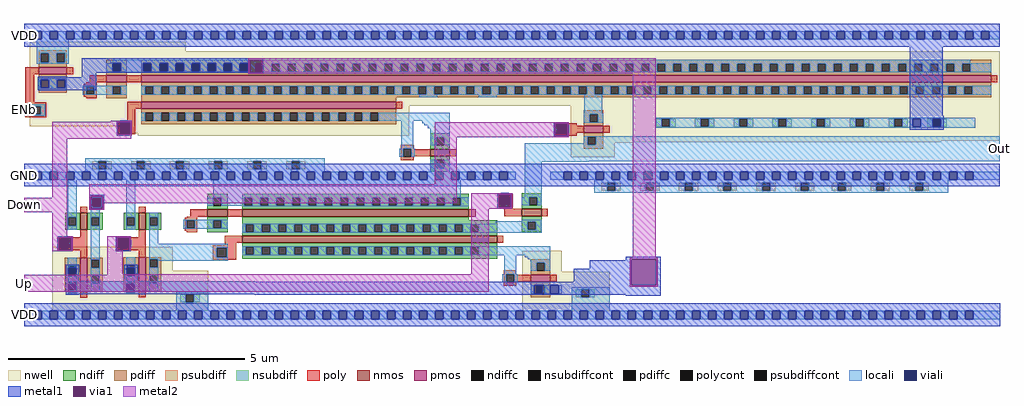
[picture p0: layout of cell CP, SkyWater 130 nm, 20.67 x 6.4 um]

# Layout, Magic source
magic
tech sky130A
<< nwell >>
rect 12 582 343 602
rect 12 467 2066 582
rect 12 423 816 467
rect 230 408 816 423
rect 241 403 816 408
rect 1158 393 2066 467
rect 1158 389 1942 393
rect 1158 388 1288 389
rect 1158 358 1251 388
rect 60 117 315 168
rect 60 32 390 117
rect 1055 115 1139 160
rect 1055 31 1241 115
<< nmos >>
rect 860 360 902 375
rect 119 204 134 240
rect 243 204 258 240
rect 388 232 432 247
rect 462 232 942 247
rect 1054 233 1096 248
rect 462 176 1002 191
<< pmos >>
rect 31 533 91 548
rect 174 516 218 531
rect 248 516 2048 531
rect 248 460 788 475
rect 1185 409 1227 424
rect 119 73 134 145
rect 243 74 258 146
rect 1073 94 1115 109
<< ndiff >>
rect 860 400 902 408
rect 860 383 873 400
rect 890 383 902 400
rect 860 375 902 383
rect 860 352 902 360
rect 860 335 873 352
rect 890 335 902 352
rect 860 327 902 335
rect 388 272 432 280
rect 388 255 401 272
rect 418 255 432 272
rect 388 247 432 255
rect 462 272 942 280
rect 462 255 466 272
rect 483 255 500 272
rect 517 255 534 272
rect 551 255 568 272
rect 585 255 602 272
rect 619 255 636 272
rect 653 255 670 272
rect 687 255 704 272
rect 721 255 738 272
rect 755 255 772 272
rect 789 255 806 272
rect 823 255 840 272
rect 857 255 874 272
rect 891 255 908 272
rect 925 255 942 272
rect 462 247 942 255
rect 1054 273 1096 281
rect 1054 256 1070 273
rect 1087 256 1096 273
rect 1054 248 1096 256
rect 87 230 119 240
rect 87 213 94 230
rect 111 213 119 230
rect 87 204 119 213
rect 134 230 167 240
rect 134 213 142 230
rect 159 213 167 230
rect 134 204 167 213
rect 211 230 243 240
rect 211 213 218 230
rect 235 213 243 230
rect 211 204 243 213
rect 258 230 291 240
rect 258 213 266 230
rect 283 213 291 230
rect 258 204 291 213
rect 388 224 432 232
rect 388 207 401 224
rect 418 207 432 224
rect 388 199 432 207
rect 462 224 942 232
rect 462 216 1002 224
rect 462 199 470 216
rect 487 199 504 216
rect 521 199 538 216
rect 555 199 572 216
rect 589 199 606 216
rect 623 199 640 216
rect 657 199 674 216
rect 691 199 708 216
rect 725 199 742 216
rect 759 199 776 216
rect 793 199 810 216
rect 827 199 844 216
rect 861 199 878 216
rect 895 199 912 216
rect 929 199 946 216
rect 963 199 1002 216
rect 1054 221 1096 233
rect 1054 204 1067 221
rect 1084 204 1096 221
rect 1054 200 1096 204
rect 462 191 1002 199
rect 462 168 1002 176
rect 462 151 470 168
rect 487 151 504 168
rect 521 151 538 168
rect 555 151 572 168
rect 589 151 606 168
rect 623 151 640 168
rect 657 151 674 168
rect 691 151 708 168
rect 725 151 742 168
rect 759 151 776 168
rect 793 151 810 168
rect 827 151 844 168
rect 861 151 878 168
rect 895 151 912 168
rect 929 151 946 168
rect 963 151 1002 168
rect 462 143 1002 151
<< pdiff >>
rect 31 578 91 584
rect 31 559 35 578
rect 52 559 69 578
rect 86 559 91 578
rect 31 548 91 559
rect 174 556 218 564
rect 174 539 188 556
rect 205 539 218 556
rect 31 494 91 533
rect 174 531 218 539
rect 248 556 2048 564
rect 248 539 253 556
rect 270 539 287 556
rect 304 539 321 556
rect 338 539 355 556
rect 372 539 389 556
rect 406 539 423 556
rect 440 539 457 556
rect 474 539 491 556
rect 508 539 525 556
rect 542 539 559 556
rect 576 539 593 556
rect 610 539 627 556
rect 644 539 661 556
rect 678 539 695 556
rect 712 539 729 556
rect 746 539 763 556
rect 780 539 797 556
rect 814 539 831 556
rect 848 539 865 556
rect 882 539 899 556
rect 916 539 933 556
rect 950 539 967 556
rect 984 539 1001 556
rect 1018 539 1035 556
rect 1052 539 1069 556
rect 1086 539 1103 556
rect 1120 539 1137 556
rect 1154 539 1171 556
rect 1188 539 1205 556
rect 1222 539 1239 556
rect 1256 539 1273 556
rect 1290 539 1307 556
rect 1324 539 1341 556
rect 1358 539 1375 556
rect 1392 539 1409 556
rect 1426 539 1443 556
rect 1460 539 1477 556
rect 1494 539 1511 556
rect 1528 539 1545 556
rect 1562 539 1579 556
rect 1596 539 1613 556
rect 1630 539 1647 556
rect 1664 539 1681 556
rect 1698 539 1715 556
rect 1732 539 1749 556
rect 1766 539 1783 556
rect 1800 539 1817 556
rect 1834 539 1851 556
rect 1868 539 1885 556
rect 1902 539 1919 556
rect 1936 539 1953 556
rect 1970 539 1987 556
rect 2004 539 2048 556
rect 248 531 2048 539
rect 174 508 218 516
rect 174 491 188 508
rect 205 491 218 508
rect 174 483 218 491
rect 248 508 2048 516
rect 248 491 257 508
rect 274 491 291 508
rect 308 491 325 508
rect 342 491 359 508
rect 376 491 393 508
rect 410 491 427 508
rect 444 491 461 508
rect 478 491 495 508
rect 512 491 529 508
rect 546 491 563 508
rect 580 491 597 508
rect 614 491 631 508
rect 648 491 665 508
rect 682 491 699 508
rect 716 491 733 508
rect 750 491 767 508
rect 784 491 801 508
rect 818 491 835 508
rect 852 491 869 508
rect 886 491 903 508
rect 920 491 937 508
rect 954 491 971 508
rect 988 491 1005 508
rect 1022 491 1039 508
rect 1056 491 1073 508
rect 1090 491 1107 508
rect 1124 491 1141 508
rect 1158 491 1175 508
rect 1192 491 1209 508
rect 1226 491 1243 508
rect 1260 491 1277 508
rect 1294 491 1311 508
rect 1328 491 1345 508
rect 1362 491 1379 508
rect 1396 491 1413 508
rect 1430 491 1447 508
rect 1464 491 1481 508
rect 1498 491 1515 508
rect 1532 491 1549 508
rect 1566 491 1583 508
rect 1600 491 1617 508
rect 1634 491 1651 508
rect 1668 491 1685 508
rect 1702 491 1719 508
rect 1736 491 1753 508
rect 1770 491 1787 508
rect 1804 491 1821 508
rect 1838 491 1855 508
rect 1872 491 1889 508
rect 1906 491 1923 508
rect 1940 491 1957 508
rect 1974 491 1991 508
rect 2008 491 2048 508
rect 248 485 2048 491
rect 248 475 788 485
rect 248 452 788 460
rect 248 435 257 452
rect 274 435 291 452
rect 308 435 325 452
rect 342 435 359 452
rect 376 435 393 452
rect 410 435 427 452
rect 444 435 461 452
rect 478 435 495 452
rect 512 435 529 452
rect 546 435 563 452
rect 580 435 597 452
rect 614 435 631 452
rect 648 435 665 452
rect 682 435 699 452
rect 716 435 733 452
rect 750 435 788 452
rect 248 427 788 435
rect 1185 449 1227 457
rect 1185 432 1198 449
rect 1215 432 1227 449
rect 1185 424 1227 432
rect 1185 401 1227 409
rect 1185 384 1194 401
rect 1211 384 1227 401
rect 1185 376 1227 384
rect 86 128 119 145
rect 86 111 94 128
rect 111 111 119 128
rect 86 94 119 111
rect 86 77 94 94
rect 111 77 119 94
rect 86 73 119 77
rect 134 141 167 145
rect 134 124 142 141
rect 159 124 167 141
rect 134 107 167 124
rect 134 90 142 107
rect 159 90 167 107
rect 134 73 167 90
rect 210 129 243 146
rect 210 112 218 129
rect 235 112 243 129
rect 210 95 243 112
rect 210 78 218 95
rect 235 78 243 95
rect 210 74 243 78
rect 258 142 291 146
rect 258 125 266 142
rect 283 125 291 142
rect 258 108 291 125
rect 1073 134 1115 142
rect 258 91 266 108
rect 283 91 291 108
rect 258 74 291 91
rect 1073 117 1086 134
rect 1103 117 1115 134
rect 1073 109 1115 117
rect 1073 86 1115 94
rect 1073 69 1086 86
rect 1103 69 1115 86
rect 1073 61 1115 69
<< ndiffc >>
rect 873 383 890 400
rect 873 335 890 352
rect 401 255 418 272
rect 466 255 483 272
rect 500 255 517 272
rect 534 255 551 272
rect 568 255 585 272
rect 602 255 619 272
rect 636 255 653 272
rect 670 255 687 272
rect 704 255 721 272
rect 738 255 755 272
rect 772 255 789 272
rect 806 255 823 272
rect 840 255 857 272
rect 874 255 891 272
rect 908 255 925 272
rect 1070 256 1087 273
rect 94 213 111 230
rect 142 213 159 230
rect 218 213 235 230
rect 266 213 283 230
rect 401 207 418 224
rect 470 199 487 216
rect 504 199 521 216
rect 538 199 555 216
rect 572 199 589 216
rect 606 199 623 216
rect 640 199 657 216
rect 674 199 691 216
rect 708 199 725 216
rect 742 199 759 216
rect 776 199 793 216
rect 810 199 827 216
rect 844 199 861 216
rect 878 199 895 216
rect 912 199 929 216
rect 946 199 963 216
rect 1067 204 1084 221
rect 470 151 487 168
rect 504 151 521 168
rect 538 151 555 168
rect 572 151 589 168
rect 606 151 623 168
rect 640 151 657 168
rect 674 151 691 168
rect 708 151 725 168
rect 742 151 759 168
rect 776 151 793 168
rect 810 151 827 168
rect 844 151 861 168
rect 878 151 895 168
rect 912 151 929 168
rect 946 151 963 168
<< pdiffc >>
rect 35 559 52 578
rect 69 559 86 578
rect 188 539 205 556
rect 253 539 270 556
rect 287 539 304 556
rect 321 539 338 556
rect 355 539 372 556
rect 389 539 406 556
rect 423 539 440 556
rect 457 539 474 556
rect 491 539 508 556
rect 525 539 542 556
rect 559 539 576 556
rect 593 539 610 556
rect 627 539 644 556
rect 661 539 678 556
rect 695 539 712 556
rect 729 539 746 556
rect 763 539 780 556
rect 797 539 814 556
rect 831 539 848 556
rect 865 539 882 556
rect 899 539 916 556
rect 933 539 950 556
rect 967 539 984 556
rect 1001 539 1018 556
rect 1035 539 1052 556
rect 1069 539 1086 556
rect 1103 539 1120 556
rect 1137 539 1154 556
rect 1171 539 1188 556
rect 1205 539 1222 556
rect 1239 539 1256 556
rect 1273 539 1290 556
rect 1307 539 1324 556
rect 1341 539 1358 556
rect 1375 539 1392 556
rect 1409 539 1426 556
rect 1443 539 1460 556
rect 1477 539 1494 556
rect 1511 539 1528 556
rect 1545 539 1562 556
rect 1579 539 1596 556
rect 1613 539 1630 556
rect 1647 539 1664 556
rect 1681 539 1698 556
rect 1715 539 1732 556
rect 1749 539 1766 556
rect 1783 539 1800 556
rect 1817 539 1834 556
rect 1851 539 1868 556
rect 1885 539 1902 556
rect 1919 539 1936 556
rect 1953 539 1970 556
rect 1987 539 2004 556
rect 188 491 205 508
rect 257 491 274 508
rect 291 491 308 508
rect 325 491 342 508
rect 359 491 376 508
rect 393 491 410 508
rect 427 491 444 508
rect 461 491 478 508
rect 495 491 512 508
rect 529 491 546 508
rect 563 491 580 508
rect 597 491 614 508
rect 631 491 648 508
rect 665 491 682 508
rect 699 491 716 508
rect 733 491 750 508
rect 767 491 784 508
rect 801 491 818 508
rect 835 491 852 508
rect 869 491 886 508
rect 903 491 920 508
rect 937 491 954 508
rect 971 491 988 508
rect 1005 491 1022 508
rect 1039 491 1056 508
rect 1073 491 1090 508
rect 1107 491 1124 508
rect 1141 491 1158 508
rect 1175 491 1192 508
rect 1209 491 1226 508
rect 1243 491 1260 508
rect 1277 491 1294 508
rect 1311 491 1328 508
rect 1345 491 1362 508
rect 1379 491 1396 508
rect 1413 491 1430 508
rect 1447 491 1464 508
rect 1481 491 1498 508
rect 1515 491 1532 508
rect 1549 491 1566 508
rect 1583 491 1600 508
rect 1617 491 1634 508
rect 1651 491 1668 508
rect 1685 491 1702 508
rect 1719 491 1736 508
rect 1753 491 1770 508
rect 1787 491 1804 508
rect 1821 491 1838 508
rect 1855 491 1872 508
rect 1889 491 1906 508
rect 1923 491 1940 508
rect 1957 491 1974 508
rect 1991 491 2008 508
rect 257 435 274 452
rect 291 435 308 452
rect 325 435 342 452
rect 359 435 376 452
rect 393 435 410 452
rect 427 435 444 452
rect 461 435 478 452
rect 495 435 512 452
rect 529 435 546 452
rect 563 435 580 452
rect 597 435 614 452
rect 631 435 648 452
rect 665 435 682 452
rect 699 435 716 452
rect 733 435 750 452
rect 1198 432 1215 449
rect 1194 384 1211 401
rect 94 111 111 128
rect 94 77 111 94
rect 142 124 159 141
rect 142 90 159 107
rect 218 112 235 129
rect 218 78 235 95
rect 266 125 283 142
rect 266 91 283 108
rect 1086 117 1103 134
rect 1086 69 1103 86
<< psubdiff >>
rect 145 332 157 349
rect 174 332 186 349
rect 227 332 239 349
rect 256 332 268 349
rect 309 332 321 349
rect 338 332 350 349
rect 391 332 403 349
rect 420 332 432 349
rect 473 332 485 349
rect 502 332 514 349
rect 555 332 567 349
rect 584 332 596 349
rect 1223 287 1235 304
rect 1252 287 1264 304
rect 1305 287 1317 304
rect 1334 287 1346 304
rect 1387 287 1399 304
rect 1416 287 1428 304
rect 1469 287 1481 304
rect 1498 287 1510 304
rect 1551 287 1563 304
rect 1580 287 1592 304
rect 1633 287 1645 304
rect 1662 287 1674 304
rect 1711 287 1723 304
rect 1740 287 1752 304
rect 1793 287 1805 304
rect 1822 287 1834 304
rect 1875 287 1887 304
rect 1904 287 1916 304
<< nsubdiff >>
rect 1339 422 1351 439
rect 1368 422 1380 439
rect 1421 422 1433 439
rect 1450 422 1462 439
rect 1503 422 1515 439
rect 1532 422 1544 439
rect 1585 422 1597 439
rect 1614 422 1626 439
rect 1667 422 1679 439
rect 1696 422 1708 439
rect 1749 422 1761 439
rect 1778 422 1790 439
rect 1831 422 1843 439
rect 1860 422 1872 439
rect 1913 422 1925 439
rect 1942 422 1954 439
rect 331 50 343 67
rect 360 50 372 67
rect 1168 61 1180 78
rect 1197 61 1209 78
<< psubdiffcont >>
rect 157 332 174 349
rect 239 332 256 349
rect 321 332 338 349
rect 403 332 420 349
rect 485 332 502 349
rect 567 332 584 349
rect 1235 287 1252 304
rect 1317 287 1334 304
rect 1399 287 1416 304
rect 1481 287 1498 304
rect 1563 287 1580 304
rect 1645 287 1662 304
rect 1723 287 1740 304
rect 1805 287 1822 304
rect 1887 287 1904 304
<< nsubdiffcont >>
rect 1351 422 1368 439
rect 1433 422 1450 439
rect 1515 422 1532 439
rect 1597 422 1614 439
rect 1679 422 1696 439
rect 1761 422 1778 439
rect 1843 422 1860 439
rect 1925 422 1942 439
rect 343 50 360 67
rect 1180 61 1197 78
<< poly >>
rect 3 533 31 548
rect 91 533 104 548
rect 3 474 22 533
rect 139 516 174 531
rect 218 516 248 531
rect 2048 516 2061 531
rect 132 513 154 516
rect 127 508 154 513
rect 127 491 132 508
rect 149 491 154 508
rect 127 486 154 491
rect 132 483 154 486
rect 3 466 47 474
rect 3 449 18 466
rect 35 449 47 466
rect 3 442 47 449
rect 219 460 248 475
rect 788 460 801 475
rect 219 433 236 460
rect 196 428 236 433
rect 196 411 204 428
rect 221 411 236 428
rect 196 406 236 411
rect 1122 425 1171 430
rect 1122 408 1130 425
rect 1147 424 1171 425
rect 1147 409 1185 424
rect 1227 409 1240 424
rect 1147 408 1171 409
rect 1122 403 1171 408
rect 798 376 825 384
rect 798 359 803 376
rect 820 375 825 376
rect 820 360 860 375
rect 902 360 915 375
rect 820 359 825 360
rect 798 351 825 359
rect 119 240 134 253
rect 243 240 258 253
rect 1002 274 1035 280
rect 1002 257 1010 274
rect 1027 257 1035 274
rect 1002 252 1035 257
rect 1017 248 1035 252
rect 352 232 388 247
rect 432 232 462 247
rect 942 232 957 247
rect 1017 233 1054 248
rect 1096 233 1109 248
rect 345 229 367 232
rect 340 224 367 229
rect 340 207 345 224
rect 362 207 367 224
rect 119 188 134 204
rect 243 188 258 204
rect 340 202 367 207
rect 345 199 367 202
rect 70 183 134 188
rect 70 166 78 183
rect 95 166 134 183
rect 70 161 134 166
rect 194 183 258 188
rect 194 166 202 183
rect 219 166 258 183
rect 425 176 462 191
rect 1002 176 1015 191
rect 425 171 449 176
rect 194 161 258 166
rect 119 145 134 161
rect 243 146 258 161
rect 400 166 449 171
rect 400 146 408 166
rect 429 146 449 166
rect 400 141 449 146
rect 1016 110 1043 118
rect 1016 93 1021 110
rect 1038 109 1043 110
rect 1038 94 1073 109
rect 1115 94 1128 109
rect 1038 93 1043 94
rect 1016 85 1043 93
rect 119 60 134 73
rect 243 61 258 74
<< polycont >>
rect 132 491 149 508
rect 18 449 35 466
rect 204 411 221 428
rect 1130 408 1147 425
rect 803 359 820 376
rect 1010 257 1027 274
rect 345 207 362 224
rect 78 166 95 183
rect 202 166 219 183
rect 408 146 429 166
rect 1021 93 1038 110
<< locali >>
rect 0 607 21 624
rect 38 607 55 624
rect 72 607 89 624
rect 106 607 123 624
rect 140 607 157 624
rect 174 607 191 624
rect 208 607 225 624
rect 242 607 259 624
rect 276 607 293 624
rect 310 607 327 624
rect 344 607 361 624
rect 378 607 395 624
rect 412 607 429 624
rect 446 607 463 624
rect 480 607 497 624
rect 514 607 531 624
rect 548 607 565 624
rect 582 607 599 624
rect 616 607 633 624
rect 650 607 667 624
rect 684 607 701 624
rect 718 607 735 624
rect 752 607 769 624
rect 786 607 803 624
rect 820 607 837 624
rect 854 607 871 624
rect 888 607 905 624
rect 922 607 939 624
rect 956 607 973 624
rect 990 607 1007 624
rect 1024 607 1041 624
rect 1058 607 1075 624
rect 1092 607 1109 624
rect 1126 607 1143 624
rect 1160 607 1177 624
rect 1194 607 1211 624
rect 1228 607 1245 624
rect 1262 607 1279 624
rect 1296 607 1313 624
rect 1330 607 1347 624
rect 1364 607 1381 624
rect 1398 607 1415 624
rect 1432 607 1449 624
rect 1466 607 1483 624
rect 1500 607 1517 624
rect 1534 607 1551 624
rect 1568 607 1585 624
rect 1602 607 1619 624
rect 1636 607 1653 624
rect 1670 607 1687 624
rect 1704 607 1721 624
rect 1738 607 1755 624
rect 1772 607 1789 624
rect 1806 607 1823 624
rect 1840 607 1857 624
rect 1874 607 1891 624
rect 1908 607 1925 624
rect 1942 607 1959 624
rect 1976 607 1993 624
rect 2010 607 2027 624
rect 2044 607 2066 624
rect 27 578 95 607
rect 27 559 35 578
rect 52 559 69 578
rect 86 559 95 578
rect 27 556 95 559
rect 188 557 2004 564
rect 174 539 188 557
rect 205 539 253 557
rect 270 539 287 557
rect 304 539 321 557
rect 338 539 355 557
rect 372 539 389 557
rect 406 539 423 557
rect 440 539 457 557
rect 474 556 2048 557
rect 474 539 491 556
rect 508 539 525 556
rect 542 539 559 556
rect 576 539 593 556
rect 610 539 627 556
rect 644 539 661 556
rect 678 539 695 556
rect 712 539 729 556
rect 746 539 763 556
rect 780 539 797 556
rect 814 539 831 556
rect 848 539 865 556
rect 882 539 899 556
rect 916 539 933 556
rect 950 539 967 556
rect 984 539 1001 556
rect 1018 539 1035 556
rect 1052 539 1069 556
rect 1086 539 1103 556
rect 1120 539 1137 556
rect 1154 539 1171 556
rect 1188 539 1205 556
rect 1222 539 1239 556
rect 1256 539 1273 556
rect 1290 539 1307 556
rect 1324 539 1341 556
rect 1358 539 1375 556
rect 1392 539 1409 556
rect 1426 539 1443 556
rect 1460 539 1477 556
rect 1494 539 1511 556
rect 1528 539 1545 556
rect 1562 539 1579 556
rect 1596 539 1613 556
rect 1630 539 1647 556
rect 1664 539 1681 556
rect 1698 539 1715 556
rect 1732 539 1749 556
rect 1766 539 1783 556
rect 1800 539 1817 556
rect 1834 539 1851 556
rect 1868 539 1885 556
rect 1902 539 1919 556
rect 1936 539 1953 556
rect 1970 539 1987 556
rect 2004 539 2048 556
rect 174 538 2048 539
rect 31 522 91 525
rect 31 505 35 522
rect 52 505 70 522
rect 87 505 91 522
rect 31 503 91 505
rect 124 508 218 509
rect 124 491 132 508
rect 149 491 188 508
rect 205 491 218 508
rect 124 490 218 491
rect 248 508 2048 509
rect 248 491 257 508
rect 274 491 291 508
rect 308 491 325 508
rect 342 491 359 508
rect 376 491 393 508
rect 410 491 427 508
rect 444 491 461 508
rect 478 491 495 508
rect 512 491 529 508
rect 546 491 563 508
rect 580 491 597 508
rect 614 491 631 508
rect 648 491 665 508
rect 682 491 699 508
rect 716 491 733 508
rect 750 491 767 508
rect 784 491 801 508
rect 818 491 835 508
rect 852 491 869 508
rect 886 491 903 508
rect 920 491 937 508
rect 954 491 971 508
rect 988 491 1005 508
rect 1022 491 1039 508
rect 1056 491 1073 508
rect 1090 491 1107 508
rect 1124 491 1141 508
rect 1158 491 1175 508
rect 1192 491 1209 508
rect 1226 491 1243 508
rect 1260 491 1277 508
rect 1294 491 1311 508
rect 1328 491 1345 508
rect 1362 491 1379 508
rect 1396 491 1413 508
rect 1430 491 1447 508
rect 1464 491 1481 508
rect 1498 491 1515 508
rect 1532 491 1549 508
rect 1566 491 1583 508
rect 1600 491 1617 508
rect 1634 491 1651 508
rect 1668 491 1685 508
rect 1702 491 1719 508
rect 1736 491 1753 508
rect 1770 491 1787 508
rect 1804 491 1821 508
rect 1838 491 1855 508
rect 1872 491 1889 508
rect 1906 491 1923 508
rect 1940 491 1957 508
rect 1974 491 1991 508
rect 2008 491 2048 508
rect 248 490 2048 491
rect 837 485 875 490
rect 963 485 1001 490
rect 0 466 45 470
rect 0 449 18 466
rect 35 449 45 466
rect 0 446 45 449
rect 204 428 221 436
rect 248 435 257 452
rect 274 435 291 452
rect 308 435 325 452
rect 342 435 359 452
rect 376 435 393 452
rect 410 435 427 452
rect 444 435 461 452
rect 478 435 495 452
rect 512 435 529 452
rect 546 435 563 452
rect 580 435 597 452
rect 614 435 631 452
rect 648 435 665 452
rect 682 435 699 452
rect 716 435 733 452
rect 750 435 902 452
rect 1187 450 1225 490
rect 204 403 221 411
rect 799 376 824 435
rect 843 430 902 435
rect 1185 449 1227 450
rect 1185 432 1198 449
rect 1215 432 1227 449
rect 1185 431 1227 432
rect 1338 439 2015 441
rect 848 425 902 430
rect 855 419 902 425
rect 860 400 902 419
rect 1122 408 1130 425
rect 1147 408 1155 425
rect 1338 422 1351 439
rect 1368 422 1433 439
rect 1450 422 1515 439
rect 1532 422 1597 439
rect 1614 422 1679 439
rect 1696 422 1761 439
rect 1778 422 1843 439
rect 1860 422 1882 439
rect 1899 422 1925 439
rect 1942 422 2015 439
rect 1338 420 2015 422
rect 860 383 873 400
rect 890 383 902 400
rect 1185 401 2066 402
rect 1185 387 1194 401
rect 1061 384 1194 387
rect 1211 384 2066 401
rect 795 359 803 376
rect 820 359 828 376
rect 130 349 637 355
rect 130 332 157 349
rect 174 332 239 349
rect 256 332 321 349
rect 338 332 403 349
rect 420 332 485 349
rect 502 332 567 349
rect 584 332 637 349
rect 130 327 637 332
rect 860 335 873 352
rect 890 335 902 352
rect 860 327 902 335
rect 1061 349 2066 384
rect 1061 348 1196 349
rect 1 310 21 327
rect 38 310 55 327
rect 72 310 89 327
rect 106 310 123 327
rect 140 310 157 327
rect 174 310 191 327
rect 208 310 225 327
rect 242 310 259 327
rect 276 310 293 327
rect 310 310 327 327
rect 344 310 361 327
rect 378 310 395 327
rect 412 310 429 327
rect 446 310 463 327
rect 480 310 497 327
rect 514 310 531 327
rect 548 310 565 327
rect 582 310 599 327
rect 616 310 633 327
rect 650 310 667 327
rect 684 310 701 327
rect 718 310 735 327
rect 752 310 769 327
rect 786 310 803 327
rect 820 310 837 327
rect 854 310 871 327
rect 888 310 905 327
rect 922 310 939 327
rect 956 310 973 327
rect 990 310 1007 327
rect 1024 310 1041 327
rect 93 230 112 310
rect 93 213 94 230
rect 111 213 112 230
rect 93 204 112 213
rect 141 271 167 276
rect 141 254 146 271
rect 163 254 167 271
rect 141 250 167 254
rect 141 230 160 250
rect 141 213 142 230
rect 159 213 160 230
rect 70 166 78 183
rect 95 166 103 183
rect 93 128 112 145
rect 93 107 94 128
rect 111 107 112 128
rect 93 94 112 107
rect 93 73 94 94
rect 111 73 112 94
rect 141 141 160 213
rect 217 230 236 310
rect 401 273 925 310
rect 1010 274 1027 282
rect 401 272 942 273
rect 388 255 401 272
rect 418 255 466 272
rect 483 255 500 272
rect 517 255 534 272
rect 551 255 568 272
rect 585 255 602 272
rect 619 255 636 272
rect 653 255 670 272
rect 687 255 704 272
rect 721 255 738 272
rect 755 255 772 272
rect 789 255 806 272
rect 823 255 840 272
rect 857 255 874 272
rect 891 255 908 272
rect 925 255 942 272
rect 462 254 942 255
rect 1061 273 1096 348
rect 1114 310 1143 327
rect 1160 310 1177 327
rect 1194 310 1211 327
rect 1228 310 1245 327
rect 1262 310 1279 327
rect 1296 310 1313 327
rect 1330 310 1347 327
rect 1364 310 1381 327
rect 1398 310 1415 327
rect 1432 310 1449 327
rect 1466 310 1483 327
rect 1500 310 1517 327
rect 1534 310 1551 327
rect 1568 310 1585 327
rect 1602 310 1619 327
rect 1636 310 1653 327
rect 1670 310 1687 327
rect 1704 310 1721 327
rect 1738 310 1755 327
rect 1772 310 1789 327
rect 1806 310 1823 327
rect 1840 310 1857 327
rect 1874 310 1891 327
rect 1908 310 1925 327
rect 1942 310 1959 327
rect 1976 310 1993 327
rect 2010 310 2066 327
rect 1208 304 1957 310
rect 1208 287 1235 304
rect 1252 287 1317 304
rect 1334 287 1399 304
rect 1416 287 1481 304
rect 1498 287 1563 304
rect 1580 287 1645 304
rect 1662 287 1723 304
rect 1740 287 1805 304
rect 1822 287 1887 304
rect 1904 287 1957 304
rect 1208 282 1957 287
rect 1010 249 1027 257
rect 1054 256 1070 273
rect 1087 256 1096 273
rect 217 213 218 230
rect 235 213 236 230
rect 217 204 236 213
rect 265 230 284 240
rect 265 213 266 230
rect 283 213 284 230
rect 194 166 202 183
rect 219 166 227 183
rect 265 174 284 213
rect 337 224 432 225
rect 337 207 345 224
rect 362 207 401 224
rect 418 207 432 224
rect 1054 222 1096 225
rect 999 221 1096 222
rect 999 217 1067 221
rect 337 206 432 207
rect 462 216 1067 217
rect 462 199 470 216
rect 487 199 504 216
rect 521 199 538 216
rect 555 199 572 216
rect 589 199 606 216
rect 623 199 640 216
rect 657 199 674 216
rect 691 199 708 216
rect 725 199 742 216
rect 759 199 776 216
rect 793 199 810 216
rect 827 199 844 216
rect 861 199 878 216
rect 895 199 912 216
rect 929 199 946 216
rect 963 204 1067 216
rect 1084 204 1096 221
rect 963 199 1096 204
rect 462 198 1096 199
rect 265 166 431 174
rect 265 146 408 166
rect 429 146 431 166
rect 462 168 1115 169
rect 462 151 470 168
rect 487 151 504 168
rect 521 151 538 168
rect 555 151 572 168
rect 589 151 606 168
rect 623 151 640 168
rect 657 151 674 168
rect 691 151 708 168
rect 725 151 742 168
rect 759 151 776 168
rect 793 151 810 168
rect 827 151 844 168
rect 861 151 878 168
rect 895 151 912 168
rect 929 151 946 168
rect 963 151 1115 168
rect 462 150 1115 151
rect 141 124 142 141
rect 159 124 160 141
rect 141 107 160 124
rect 141 90 142 107
rect 159 90 160 107
rect 141 73 160 90
rect 217 129 236 146
rect 217 107 218 129
rect 235 107 236 129
rect 217 95 236 107
rect 217 90 218 95
rect 235 78 236 95
rect 234 73 236 78
rect 265 142 431 146
rect 265 125 266 142
rect 283 138 431 142
rect 283 125 284 138
rect 265 108 284 125
rect 1017 110 1042 150
rect 1060 146 1115 150
rect 1067 142 1115 146
rect 1072 137 1115 142
rect 1073 134 1115 137
rect 1073 117 1086 134
rect 1103 117 1115 134
rect 265 91 266 108
rect 283 91 284 108
rect 1013 93 1021 110
rect 1038 93 1046 110
rect 265 74 284 91
rect 93 69 112 73
rect 217 70 236 73
rect 322 67 390 73
rect 1073 69 1081 86
rect 1103 69 1115 86
rect 1132 69 1139 86
rect 1160 78 1241 82
rect 322 50 343 67
rect 360 50 390 67
rect 322 32 390 50
rect 1160 61 1180 78
rect 1197 61 1241 78
rect 1160 32 1241 61
rect 0 15 21 32
rect 38 15 55 32
rect 72 15 89 32
rect 106 15 123 32
rect 140 15 157 32
rect 174 15 191 32
rect 208 15 225 32
rect 242 15 259 32
rect 276 15 293 32
rect 310 15 327 32
rect 344 15 361 32
rect 378 15 395 32
rect 412 15 429 32
rect 446 15 463 32
rect 480 15 497 32
rect 514 15 531 32
rect 548 15 565 32
rect 582 15 599 32
rect 616 15 633 32
rect 650 15 667 32
rect 684 15 701 32
rect 718 15 735 32
rect 752 15 769 32
rect 786 15 803 32
rect 820 15 837 32
rect 854 15 871 32
rect 888 15 905 32
rect 922 15 939 32
rect 956 15 973 32
rect 990 15 1007 32
rect 1024 15 1041 32
rect 1058 15 1075 32
rect 1092 15 1109 32
rect 1126 15 1143 32
rect 1160 15 1177 32
rect 1194 15 1211 32
rect 1228 15 1245 32
rect 1262 15 1279 32
rect 1296 15 1313 32
rect 1330 15 1347 32
rect 1364 15 1381 32
rect 1398 15 1415 32
rect 1432 15 1449 32
rect 1466 15 1483 32
rect 1500 15 1517 32
rect 1534 15 1551 32
rect 1568 15 1585 32
rect 1602 15 1619 32
rect 1636 15 1653 32
rect 1670 15 1687 32
rect 1704 15 1721 32
rect 1738 15 1755 32
rect 1772 15 1789 32
rect 1806 15 1823 32
rect 1840 15 1857 32
rect 1874 15 1891 32
rect 1908 15 1925 32
rect 1942 15 1959 32
rect 1976 15 1993 32
rect 2010 15 2067 32
<< viali >>
rect 21 607 38 624
rect 55 607 72 624
rect 89 607 106 624
rect 123 607 140 624
rect 157 607 174 624
rect 191 607 208 624
rect 225 607 242 624
rect 259 607 276 624
rect 293 607 310 624
rect 327 607 344 624
rect 361 607 378 624
rect 395 607 412 624
rect 429 607 446 624
rect 463 607 480 624
rect 497 607 514 624
rect 531 607 548 624
rect 565 607 582 624
rect 599 607 616 624
rect 633 607 650 624
rect 667 607 684 624
rect 701 607 718 624
rect 735 607 752 624
rect 769 607 786 624
rect 803 607 820 624
rect 837 607 854 624
rect 871 607 888 624
rect 905 607 922 624
rect 939 607 956 624
rect 973 607 990 624
rect 1007 607 1024 624
rect 1041 607 1058 624
rect 1075 607 1092 624
rect 1109 607 1126 624
rect 1143 607 1160 624
rect 1177 607 1194 624
rect 1211 607 1228 624
rect 1245 607 1262 624
rect 1279 607 1296 624
rect 1313 607 1330 624
rect 1347 607 1364 624
rect 1381 607 1398 624
rect 1415 607 1432 624
rect 1449 607 1466 624
rect 1483 607 1500 624
rect 1517 607 1534 624
rect 1551 607 1568 624
rect 1585 607 1602 624
rect 1619 607 1636 624
rect 1653 607 1670 624
rect 1687 607 1704 624
rect 1721 607 1738 624
rect 1755 607 1772 624
rect 1789 607 1806 624
rect 1823 607 1840 624
rect 1857 607 1874 624
rect 1891 607 1908 624
rect 1925 607 1942 624
rect 1959 607 1976 624
rect 1993 607 2010 624
rect 2027 607 2044 624
rect 188 556 205 557
rect 188 540 205 556
rect 253 556 270 557
rect 253 540 270 556
rect 287 556 304 557
rect 287 540 304 556
rect 321 556 338 557
rect 321 540 338 556
rect 355 556 372 557
rect 355 540 372 556
rect 389 556 406 557
rect 389 540 406 556
rect 423 556 440 557
rect 423 540 440 556
rect 457 556 474 557
rect 457 540 474 556
rect 35 505 52 522
rect 70 505 87 522
rect 204 411 221 428
rect 1130 408 1147 425
rect 1882 422 1899 439
rect 1925 422 1942 439
rect 21 310 38 327
rect 55 310 72 327
rect 89 310 106 327
rect 123 310 140 327
rect 157 310 174 327
rect 191 310 208 327
rect 225 310 242 327
rect 259 310 276 327
rect 293 310 310 327
rect 327 310 344 327
rect 361 310 378 327
rect 395 310 412 327
rect 429 310 446 327
rect 463 310 480 327
rect 497 310 514 327
rect 531 310 548 327
rect 565 310 582 327
rect 599 310 616 327
rect 633 310 650 327
rect 667 310 684 327
rect 701 310 718 327
rect 735 310 752 327
rect 769 310 786 327
rect 803 310 820 327
rect 837 310 854 327
rect 871 310 888 327
rect 905 310 922 327
rect 939 310 956 327
rect 973 310 990 327
rect 1007 310 1024 327
rect 146 254 163 271
rect 78 166 95 183
rect 94 111 111 124
rect 94 107 111 111
rect 94 77 111 90
rect 94 73 111 77
rect 1010 257 1027 274
rect 1143 310 1160 327
rect 1177 310 1194 327
rect 1211 310 1228 327
rect 1245 310 1262 327
rect 1279 310 1296 327
rect 1313 310 1330 327
rect 1347 310 1364 327
rect 1381 310 1398 327
rect 1415 310 1432 327
rect 1449 310 1466 327
rect 1483 310 1500 327
rect 1517 310 1534 327
rect 1551 310 1568 327
rect 1585 310 1602 327
rect 1619 310 1636 327
rect 1653 310 1670 327
rect 1687 310 1704 327
rect 1721 310 1738 327
rect 1755 310 1772 327
rect 1789 310 1806 327
rect 1823 310 1840 327
rect 1857 310 1874 327
rect 1891 310 1908 327
rect 1925 310 1942 327
rect 1959 310 1976 327
rect 1993 310 2010 327
rect 202 166 219 183
rect 218 112 235 124
rect 218 107 235 112
rect 217 78 218 90
rect 218 78 234 90
rect 217 73 234 78
rect 1081 69 1086 86
rect 1086 69 1098 86
rect 1115 69 1132 86
rect 21 15 38 32
rect 55 15 72 32
rect 89 15 106 32
rect 123 15 140 32
rect 157 15 174 32
rect 191 15 208 32
rect 225 15 242 32
rect 259 15 276 32
rect 293 15 310 32
rect 327 15 344 32
rect 361 15 378 32
rect 395 15 412 32
rect 429 15 446 32
rect 463 15 480 32
rect 497 15 514 32
rect 531 15 548 32
rect 565 15 582 32
rect 599 15 616 32
rect 633 15 650 32
rect 667 15 684 32
rect 701 15 718 32
rect 735 15 752 32
rect 769 15 786 32
rect 803 15 820 32
rect 837 15 854 32
rect 871 15 888 32
rect 905 15 922 32
rect 939 15 956 32
rect 973 15 990 32
rect 1007 15 1024 32
rect 1041 15 1058 32
rect 1075 15 1092 32
rect 1109 15 1126 32
rect 1143 15 1160 32
rect 1177 15 1194 32
rect 1211 15 1228 32
rect 1245 15 1262 32
rect 1279 15 1296 32
rect 1313 15 1330 32
rect 1347 15 1364 32
rect 1381 15 1398 32
rect 1415 15 1432 32
rect 1449 15 1466 32
rect 1483 15 1500 32
rect 1517 15 1534 32
rect 1551 15 1568 32
rect 1585 15 1602 32
rect 1619 15 1636 32
rect 1653 15 1670 32
rect 1687 15 1704 32
rect 1721 15 1738 32
rect 1755 15 1772 32
rect 1789 15 1806 32
rect 1823 15 1840 32
rect 1857 15 1874 32
rect 1891 15 1908 32
rect 1925 15 1942 32
rect 1959 15 1976 32
rect 1993 15 2010 32
<< metal1 >>
rect 0 624 2066 640
rect 0 607 21 624
rect 38 607 55 624
rect 72 607 89 624
rect 106 607 123 624
rect 140 607 157 624
rect 174 607 191 624
rect 208 607 225 624
rect 242 607 259 624
rect 276 607 293 624
rect 310 607 327 624
rect 344 607 361 624
rect 378 607 395 624
rect 412 607 429 624
rect 446 607 463 624
rect 480 607 497 624
rect 514 607 531 624
rect 548 607 565 624
rect 582 607 599 624
rect 616 607 633 624
rect 650 607 667 624
rect 684 607 701 624
rect 718 607 735 624
rect 752 607 769 624
rect 786 607 803 624
rect 820 607 837 624
rect 854 607 871 624
rect 888 607 905 624
rect 922 607 939 624
rect 956 607 973 624
rect 990 607 1007 624
rect 1024 607 1041 624
rect 1058 607 1075 624
rect 1092 607 1109 624
rect 1126 607 1143 624
rect 1160 607 1177 624
rect 1194 607 1211 624
rect 1228 607 1245 624
rect 1262 607 1279 624
rect 1296 607 1313 624
rect 1330 607 1347 624
rect 1364 607 1381 624
rect 1398 607 1415 624
rect 1432 607 1449 624
rect 1466 607 1483 624
rect 1500 607 1517 624
rect 1534 607 1551 624
rect 1568 607 1585 624
rect 1602 607 1619 624
rect 1636 607 1653 624
rect 1670 607 1687 624
rect 1704 607 1721 624
rect 1738 607 1755 624
rect 1772 607 1789 624
rect 1806 607 1823 624
rect 1840 607 1857 624
rect 1874 607 1891 624
rect 1908 607 1925 624
rect 1942 607 1959 624
rect 1976 607 1993 624
rect 2010 607 2027 624
rect 2044 607 2066 624
rect 0 592 2066 607
rect 122 563 507 567
rect 122 557 478 563
rect 122 540 188 557
rect 205 540 253 557
rect 270 540 287 557
rect 304 540 321 557
rect 338 540 355 557
rect 372 540 389 557
rect 406 540 423 557
rect 440 540 457 557
rect 474 540 478 557
rect 122 537 478 540
rect 504 537 507 563
rect 29 527 93 528
rect 122 527 153 537
rect 475 534 507 537
rect 29 522 153 527
rect 29 505 35 522
rect 52 505 70 522
rect 87 505 153 522
rect 29 499 153 505
rect 1876 446 1946 592
rect 1876 439 1948 446
rect 196 432 228 435
rect 196 406 199 432
rect 225 406 228 432
rect 196 403 228 406
rect 1122 429 1154 432
rect 1122 403 1125 429
rect 1151 403 1154 429
rect 1876 422 1882 439
rect 1899 422 1925 439
rect 1942 422 1948 439
rect 1876 416 1948 422
rect 1122 402 1154 403
rect 1 327 2066 344
rect 1 310 21 327
rect 38 310 55 327
rect 72 310 89 327
rect 106 310 123 327
rect 140 310 157 327
rect 174 310 191 327
rect 208 310 225 327
rect 242 310 259 327
rect 276 310 293 327
rect 310 310 327 327
rect 344 310 361 327
rect 378 310 395 327
rect 412 310 429 327
rect 446 310 463 327
rect 480 310 497 327
rect 514 310 531 327
rect 548 310 565 327
rect 582 310 599 327
rect 616 310 633 327
rect 650 310 667 327
rect 684 310 701 327
rect 718 310 735 327
rect 752 310 769 327
rect 786 310 803 327
rect 820 310 837 327
rect 854 310 871 327
rect 888 310 905 327
rect 922 310 939 327
rect 956 310 973 327
rect 990 310 1007 327
rect 1024 310 1143 327
rect 1160 310 1177 327
rect 1194 310 1211 327
rect 1228 310 1245 327
rect 1262 310 1279 327
rect 1296 310 1313 327
rect 1330 310 1347 327
rect 1364 310 1381 327
rect 1398 310 1415 327
rect 1432 310 1449 327
rect 1466 310 1483 327
rect 1500 310 1517 327
rect 1534 310 1551 327
rect 1568 310 1585 327
rect 1602 310 1619 327
rect 1636 310 1653 327
rect 1670 310 1687 327
rect 1704 310 1721 327
rect 1738 310 1755 327
rect 1772 310 1789 327
rect 1806 310 1823 327
rect 1840 310 1857 327
rect 1874 310 1891 327
rect 1908 310 1925 327
rect 1942 310 1959 327
rect 1976 310 1993 327
rect 2010 310 2066 327
rect 1 296 2066 310
rect 1002 278 1034 281
rect 138 275 170 278
rect 138 249 141 275
rect 167 249 170 275
rect 1002 252 1005 278
rect 1031 252 1034 278
rect 1002 249 1034 252
rect 138 246 170 249
rect 71 187 103 190
rect 71 161 74 187
rect 100 161 103 187
rect 71 158 103 161
rect 194 187 226 190
rect 194 161 197 187
rect 223 161 226 187
rect 194 158 226 161
rect 1274 142 1349 147
rect 1274 139 1286 142
rect 88 124 117 130
rect 88 107 94 124
rect 111 115 117 124
rect 212 124 241 130
rect 111 107 116 115
rect 88 96 116 107
rect 212 107 218 124
rect 235 107 241 124
rect 1198 121 1286 139
rect 88 95 117 96
rect 212 95 241 107
rect 88 94 490 95
rect 1164 94 1286 121
rect 88 90 1286 94
rect 88 73 94 90
rect 111 73 217 90
rect 234 86 1286 90
rect 1339 86 1349 142
rect 234 73 1081 86
rect 88 69 1081 73
rect 1098 69 1115 86
rect 1132 69 1349 86
rect 88 67 1349 69
rect 88 66 116 67
rect 489 66 1349 67
rect 1274 64 1349 66
rect 0 32 2067 48
rect 0 15 21 32
rect 38 15 55 32
rect 72 15 89 32
rect 106 15 123 32
rect 140 15 157 32
rect 174 15 191 32
rect 208 15 225 32
rect 242 15 259 32
rect 276 15 293 32
rect 310 15 327 32
rect 344 15 361 32
rect 378 15 395 32
rect 412 15 429 32
rect 446 15 463 32
rect 480 15 497 32
rect 514 15 531 32
rect 548 15 565 32
rect 582 15 599 32
rect 616 15 633 32
rect 650 15 667 32
rect 684 15 701 32
rect 718 15 735 32
rect 752 15 769 32
rect 786 15 803 32
rect 820 15 837 32
rect 854 15 871 32
rect 888 15 905 32
rect 922 15 939 32
rect 956 15 973 32
rect 990 15 1007 32
rect 1024 15 1041 32
rect 1058 15 1075 32
rect 1092 15 1109 32
rect 1126 15 1143 32
rect 1160 15 1177 32
rect 1194 15 1211 32
rect 1228 15 1245 32
rect 1262 15 1279 32
rect 1296 15 1313 32
rect 1330 15 1347 32
rect 1364 15 1381 32
rect 1398 15 1415 32
rect 1432 15 1449 32
rect 1466 15 1483 32
rect 1500 15 1517 32
rect 1534 15 1551 32
rect 1568 15 1585 32
rect 1602 15 1619 32
rect 1636 15 1653 32
rect 1670 15 1687 32
rect 1704 15 1721 32
rect 1738 15 1755 32
rect 1772 15 1789 32
rect 1806 15 1823 32
rect 1840 15 1857 32
rect 1874 15 1891 32
rect 1908 15 1925 32
rect 1942 15 1959 32
rect 1976 15 1993 32
rect 2010 15 2067 32
rect 0 0 2067 15
<< via1 >>
rect 478 537 504 563
rect 199 428 225 432
rect 199 411 204 428
rect 204 411 221 428
rect 221 411 225 428
rect 199 406 225 411
rect 1125 425 1151 429
rect 1125 408 1130 425
rect 1130 408 1147 425
rect 1147 408 1151 425
rect 1125 403 1151 408
rect 141 271 167 275
rect 141 254 146 271
rect 146 254 163 271
rect 163 254 167 271
rect 141 249 167 254
rect 1005 274 1031 278
rect 1005 257 1010 274
rect 1010 257 1027 274
rect 1027 257 1031 274
rect 1005 252 1031 257
rect 74 183 100 187
rect 74 166 78 183
rect 78 166 95 183
rect 95 166 100 183
rect 74 161 100 166
rect 197 183 223 187
rect 197 166 202 183
rect 202 166 219 183
rect 219 166 223 183
rect 197 161 223 166
rect 1286 86 1339 142
<< metal2 >>
rect 475 563 1338 567
rect 475 537 478 563
rect 504 537 1338 563
rect 475 534 1338 537
rect 184 433 228 435
rect 60 432 228 433
rect 60 406 199 432
rect 225 406 228 432
rect 60 403 228 406
rect 870 429 1154 432
rect 870 403 1125 429
rect 1151 403 1154 429
rect 60 397 227 403
rect 870 400 1154 403
rect 60 272 92 397
rect 870 300 917 400
rect 1 241 92 272
rect 138 275 917 300
rect 138 249 141 275
rect 167 260 917 275
rect 947 278 1034 281
rect 167 249 170 260
rect 138 246 170 249
rect 947 252 1005 278
rect 1031 252 1034 278
rect 947 249 1034 252
rect 60 190 92 241
rect 60 187 103 190
rect 60 161 74 187
rect 100 161 103 187
rect 60 158 103 161
rect 176 187 226 190
rect 176 161 197 187
rect 223 161 226 187
rect 176 110 209 161
rect 947 110 984 249
rect 1289 145 1338 534
rect 176 109 984 110
rect 1 73 984 109
rect 1283 142 1342 145
rect 1283 86 1286 142
rect 1339 86 1342 142
rect 1283 83 1342 86
<< labels >>
rlabel metal1 0 592 0 640 3 VDD
port 1 e power bidirectional
rlabel metal1 1 296 1 344 3 GND
port 2 e ground bidirectional
rlabel metal1 0 0 0 48 3 VDD
port 1 e power bidirectional
rlabel metal2 1 73 1 109 3 Up
port 3 e signal input
rlabel metal2 1 241 1 272 3 Down
port 4 e signal input
rlabel locali 2066 349 2066 402 7 Out
port 5 w signal output
rlabel locali 0 446 0 470 3 ENb
port 6 e signal input
<< properties >>
string LEFclass CORE
string LEFsite unithddb1
<< end >>
